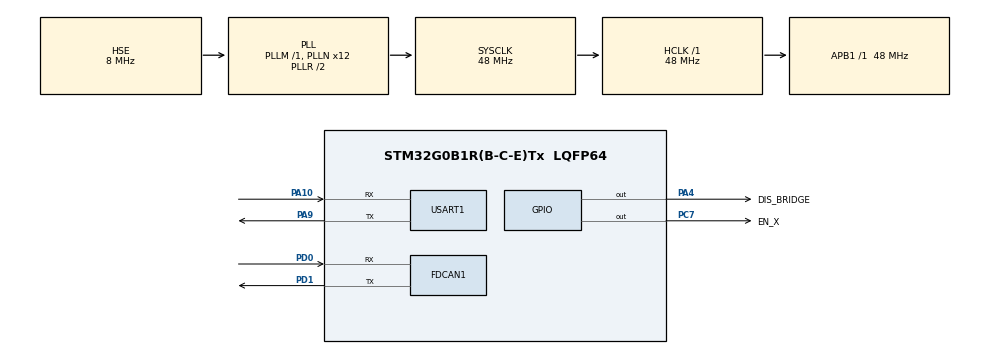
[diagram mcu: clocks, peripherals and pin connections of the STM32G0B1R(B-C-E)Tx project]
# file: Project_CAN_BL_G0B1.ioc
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CRC.InputDataFormat=CRC_INPUTDATA_FORMAT_WORDS
FDCAN1.AutoRetransmission=ENABLE
FDCAN1.CalculateBaudRateNominal=125000
FDCAN1.CalculateTimeBitNominal=8000
FDCAN1.CalculateTimeQuantumNominal=500.0
FDCAN1.DataTimeSeg1=13
FDCAN1.DataTimeSeg2=2
FDCAN1.NominalPrescaler=24
FDCAN1.NominalTimeSeg1=13
FDCAN1.NominalTimeSeg2=2
FDCAN1.TxFifoQueueMode=FDCAN_TX_QUEUE_OPERATION
IWDG.Prescaler=IWDG_PRESCALER_32
Mcu.Family=STM32G0
Mcu.Name=STM32G0B1R(B-C-E)Tx
Mcu.Package=LQFP64
NVIC.TIM16_FDCAN_IT0_IRQn=true\:0\:0\:false\:false\:true\:true\:true\:true
NVIC.USART1_IRQn=true\:1\:0\:true\:false\:true\:true\:true\:true
PA10.Mode=Asynchronous
PA10.Signal=USART1_RX
PA13.Mode=Serial_Wire
PA13.Signal=SYS_SWDIO
PA14-BOOT0.Mode=Serial_Wire
PA14-BOOT0.Signal=SYS_SWCLK
PA4.GPIO_Label=DIS_BRIDGE
PA4.PinState=GPIO_PIN_SET
PA4.Signal=GPIO_Output
PA9.Mode=Asynchronous
PA9.Signal=USART1_TX
PC14-OSC32_IN\ (PC14).Mode=LSE-External-Oscillator
PC14-OSC32_IN\ (PC14).Signal=RCC_OSC32_IN
PC15-OSC32_OUT\ (PC15).Mode=LSE-External-Oscillator
PC15-OSC32_OUT\ (PC15).Signal=RCC_OSC32_OUT
PC7.GPIO_Label=EN_X
PC7.PinState=GPIO_PIN_RESET
PC7.Signal=GPIO_Output
PD0.Mode=FDCAN_Activate
PD0.Signal=FDCAN1_RX
PD1.Mode=FDCAN_Activate
PD1.Signal=FDCAN1_TX
PF0-OSC_IN\ (PF0).Mode=HSE-External-Oscillator
PF0-OSC_IN\ (PF0).Signal=RCC_OSC_IN
PF1-OSC_OUT\ (PF1).Mode=HSE-External-Oscillator
PF1-OSC_OUT\ (PF1).Signal=RCC_OSC_OUT
ProjectManager.HeapSize=0x200
ProjectManager.StackSize=0x400
ProjectManager.TargetToolchain=STM32CubeIDE
RCC.ADCFreq_Value=48000000
RCC.AHBFreq_Value=48000000
RCC.APB1Freq_Value=48000000
RCC.APB1TimFreq_Value=48000000
RCC.CortexFreq_Value=48000000
RCC.EXTERNAL_CLOCK_VALUE=48000
RCC.HCLKFreq_Value=48000000
RCC.HSE_VALUE=8000000
RCC.HSI48_VALUE=48000000
RCC.HSI_VALUE=16000000
RCC.LSE_Timout=10000
RCC.PLLMUL=RCC_PLL_MUL6
RCC.PLLN=12
RCC.PLLSourceVirtual=RCC_PLLSOURCE_HSE
RCC.RTCClockSelection=RCC_RTCCLKSOURCE_LSE
RCC.SYSCLKFreq_VALUE=48000000
RCC.SYSCLKSource=RCC_SYSCLKSOURCE_PLLCLK
RCC.USBFreq_Value=48000000
RCC.VCOOutputFreq_Value=96000000
USART1.VirtualMode-Asynchronous=VM_ASYNC
VP_CRC_VS_CRC.Mode=CRC_Activate
VP_IWDG_VS_IWDG.Mode=IWDG_Activate
VP_RTC_VS_RTC_Activate.Mode=RTC_Enabled
VP_SYS_VS_DBSignals.Mode=DisableDeadBatterySignals
board=custom

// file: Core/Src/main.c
/* USER CODE BEGIN Header */
/**
 ******************************************************************************
 * @file           : main.c
 * @brief          : Main program body
 ******************************************************************************
 ** This notice applies to any and all portions of this file
 * that are not between comment pairs USER CODE BEGIN and
 * USER CODE END. Other portions of this file, whether
 * inserted by the user or by software development tools
 * are owned by their respective copyright owners.
 *
 * COPYRIGHT(c) 2019 STMicroelectronics
 *
 * Redistribution and use in source and binary forms, with or without modification,
 * are permitted provided that the following conditions are met:
 *   1. Redistributions of source code must retain the above copyright notice,
 *      this list of conditions and the following disclaimer.
 *   2. Redistributions in binary form must reproduce the above copyright notice,
 *      this list of conditions and the following disclaimer in the documentation
 *      and/or other materials provided with the distribution.
 *   3. Neither the name of STMicroelectronics nor the names of its contributors
 *      may be used to endorse or promote products derived from this software
 *      without specific prior written permission.
 *
 * THIS SOFTWARE IS PROVIDED BY THE COPYRIGHT HOLDERS AND CONTRIBUTORS "AS IS"
 * AND ANY EXPRESS OR IMPLIED WARRANTIES, INCLUDING, BUT NOT LIMITED TO, THE
 * IMPLIED WARRANTIES OF MERCHANTABILITY AND FITNESS FOR A PARTICULAR PURPOSE ARE
 * DISCLAIMED. IN NO EVENT SHALL THE COPYRIGHT HOLDER OR CONTRIBUTORS BE LIABLE
 * FOR ANY DIRECT, INDIRECT, INCIDENTAL, SPECIAL, EXEMPLARY, OR CONSEQUENTIAL
 * DAMAGES (INCLUDING, BUT NOT LIMITED TO, PROCUREMENT OF SUBSTITUTE GOODS OR
 * SERVICES; LOSS OF USE, DATA, OR PROFITS; OR BUSINESS INTERRUPTION) HOWEVER
 * CAUSED AND ON ANY THEORY OF LIABILITY, WHETHER IN CONTRACT, STRICT LIABILITY,
 * OR TORT (INCLUDING NEGLIGENCE OR OTHERWISE) ARISING IN ANY WAY OUT OF THE USE
 * OF THIS SOFTWARE, EVEN IF ADVISED OF THE POSSIBILITY OF SUCH DAMAGE.
 *
 ******************************************************************************
 */
/* USER CODE END Header */
#include "main.h"
#include "crc.h"
#include "fdcan.h"
#include "iwdg.h"
#include "rtc.h"
#include "usart.h"
#include "gpio.h"

/* USER CODE BEGIN Includes */
#include "time.h"
#include "shell.h"
#include "flash.h"
#include "crc.h"
#include "uart_sci.h"
#include "can_functions.h"

/* USER CODE END Includes */

/* USER CODE BEGIN PV */
/*
 *  __  __                  _______           _                    _                _
 * |  \/  |                |__   __|         | |                  | |              (�)
 * | \  / | _   _   ___  ___  | |  ___   ___ | |__   _ __    ___  | |  ___    __ _  _   ___  ___
 * | |\/| || | | | / __|/ _ \ | | / _ \ / __|| '_ \ | '_ \  / _ \ | | / _ \  / _` || | / _ \/ __|
 * | |  | || |_| || (__| (_) || ||  __/| (__ | | | || | | || (_) || || (_) || (_| || ||  __/\__ \
 * |_|  |_| \__,_| \___|\___/ |_| \___| \___||_| |_||_| |_| \___/ |_| \___/  \__, ||_| \___||___/
 *                                                                           __/  |
 *                                                                           |___/
 **************************************************************************************************

 DESCRIPTION:

 REMARKS:

 arm-none-eabi-objcopy -O binary "${BuildArtifactFileBaseName}.elf" "${BuildArtifactFileBaseName}.bin" && arm-none-eabi-size "${BuildArtifactFileName}";${ProjDirPath}/writeCRC.exe "${BuildArtifactFileBaseName}.bin"

 - section MYSEC
 - .data:  *(.RamFunc)
 - Optimize more (-O2)

 NOTES
 CPU freq 48 Mhz
 Uart1 COM port MODBUS baudrate: 115k, 8 databits, 1 stopbit, no parity
 Uart3 DEBUG/ PROGRAM baudrate: 115k, 8 databits, 1 stopbit, no parity
 IWDT 40khz/4095/4 = 0.4096 sec
 Timer6 voor timer functie 48mHz /47/999 = 1msec

 TOOLS
 - CubeMX 5.3.0
 - AC6 System Workbench

 PRINCIPE
 0x08000000 Bootloader 18K
 0x08004000 Application 55kb
 0x08010000 Shadow flash 55kb

 VERSION OVERVIEW:
 0.01
 - eerste versie
 0.02
 - mucu timer on systick
 - flash erase in pages

 */
uint8_t toggle_tmr = NO_TIMER;
uint8_t autostart_tmr = NO_TIMER;

/* Private variables ---------------------------------------------------------*/

/* USER CODE END PV */

void SystemClock_Config(void);
/* USER CODE BEGIN PFP */
/* Private function prototypes -----------------------------------------------*/

static HAL_StatusTypeDef Disable_DualBank(void);

/* USER CODE END PFP */

/* USER CODE BEGIN 0 */

/*!< Info structure for bootloader */
volatile const app_info_t __attribute__((section (".mySection"))) c_app_info =
{ .key = APP_KEY,				// Key
		.version = VERSION,		// Version
		.crc32 = 0xFFFFFFFF,		// CCITT-CRC32
		.size = 0xFFFFFFFF,		// File size
		.build_date = __DATE__,	// Build date
		.build_time = __TIME__,	// Build time
		.dummy =
		{ 0xFF, 0xFF, 0xFF } // Dummy[3]
};

/* USER CODE END 0 */

int main(void)
{

  /* USER CODE BEGIN 1 */

	//__disable_irq();
	app_info_t *p_app_info = (app_info_t*) FLASH_APP_START_ADDR;
//	app_info_t *p_shadow_info = (app_info_t*) FLASH_SHADOW_START_ADDR;
	uint32_t *ram_key = (uint32_t*) RAM_KEY;
	uint32_t *p_serial = (uint32_t*) RAM_SERIAL; // application fills the serial

  /* USER CODE END 1 */

  /* MCU Configuration--------------------------------------------------------*/

  /* Reset of all peripherals, Initializes the Flash interface and the Systick. */
  HAL_Init();

  /* Configure the system clock */
  SystemClock_Config();

  /* Initialize all configured peripherals */
  MX_GPIO_Init();
  MX_CRC_Init();
  MX_IWDG_Init();
  MX_RTC_Init();
  MX_USART1_UART_Init();
  MX_FDCAN1_Init();
  /* USER CODE BEGIN 2 */

	__enable_irq();

	// Open the byteQ
	init_sci();

	// setup the function timer
	timer_open();

	// init the Shell
	shell_open();

	FDCAN_Config();

	if (*ram_key == CAN_KEY)
	{
//		HAL_Delay(100);
		can_send_msg(ID_OC_RES, 4, (uint8_t *) p_serial);
	}
	else if (*ram_key == WAIT_KEY_1 || *ram_key == WAIT_KEY_3)
	{
		tty_puts("'MT' (@) 2025 STM32G0 CHG_BL, Stop\r\n");
	}
	else if (*ram_key == CRASH_KEY)
	{
		tty_puts("'MT' (@) 2025 STM32G0 CHG_BL, Crash\r\n");
		autostart_tmr = timer_get();
		timer_start(autostart_tmr, 2500, NULL);
	}
	else if (p_app_info->key == APP_KEY)
	{
		tty_puts("'MT' (@) 2025 STM32G0 CHG_BL, Start\r\n");
		autostart_tmr = timer_get();
		timer_start(autostart_tmr, 10, NULL);
	}

	else
		tty_puts("'MT' (@) 2025 STM32G0 CHG_BL\r\n");

	//Disable_DualBank();

	// APP need to clear this flag or else app was crashed
	*ram_key = CRASH_KEY;

	app_info_t app_info;

#if 0
	app_info_t app_info;
	app_info_t shadow_info;
	HAL_StatusTypeDef hal_err;

	if (p_shadow_info->key == APP_KEY)
	{
		// Verify integrity of shadow
		if (crc_verify_flash(&shadow_info, FLASH_SHADOW_START_ADDR, SHADOW_SIZE) == 0)
		{
			// get CRC of application
			crc_verify_flash(&app_info, FLASH_APP_START_ADDR, APP_SIZE);
			if ((shadow_info.version & 0xFF) == VERSION_KEY_SHIFTER)
			{
				if (app_info.crc32 != shadow_info.crc32)
				{
					tty_puts("Copy Shadow to App..");
					NVIC_DisableIRQ(USART3_4_LPUART1_IRQn); // IRQs from the main will stall copying
					HAL_Delay(10);

					if (copy_shadow(APP_SIZE))
					{
						autostart_tmr = NO_TIMER;
						tty_puts("Error\r\n");
					}
					else
					{
						// Delete the header
						tty_puts("Erasing shadow flash... ");
						HAL_Delay(10);
						if ((hal_err = stm32_flash_erase(FLASH_SHADOW_START_ADDR, SHADOW_SIZE)) == HAL_OK)
						{
							sci1_puts("OK\r\n");
							autostart_tmr = timer_get();
							timer_start(autostart_tmr, 250, NULL);
						}
						else
						sci1_puts("Error\r\n");

					}
				}
			}
			else
			tty_puts("No Shifter C9 code\r\n");
		}
		else
		tty_puts("Shadow CRC error\r\n");
	}
#endif
  /* USER CODE END 2 */

  /* Infinite loop */
  /* USER CODE BEGIN WHILE */

//	app_info_t app_info;

	while (1)
	{
    /* USER CODE END WHILE */

    /* USER CODE BEGIN 3 */
		wdt_clr();

		shell_process();

		if (timer_elapsed(autostart_tmr))
		{
			timer_free(&autostart_tmr);

			// Verify integrity.
			if (crc_verify_flash(&app_info, FLASH_APP_START_ADDR, APP_SIZE) == 0)
			{
				tty_puts("Jump\r\n");
				HAL_Delay(15);
				JumptoApp();
			}
			else
				tty_puts("APP CRC error\r\n");

		}
	}
  /* USER CODE END 3 */
}

void SystemClock_Config(void)
{
  RCC_OscInitTypeDef RCC_OscInitStruct = {0};
  RCC_ClkInitTypeDef RCC_ClkInitStruct = {0};

  /** Configure the main internal regulator output voltage
  */
  HAL_PWREx_ControlVoltageScaling(PWR_REGULATOR_VOLTAGE_SCALE1);

  /** Configure LSE Drive Capability
  */
  HAL_PWR_EnableBkUpAccess();
  __HAL_RCC_LSEDRIVE_CONFIG(RCC_LSEDRIVE_LOW);

  /** Initializes the RCC Oscillators according to the specified parameters
  * in the RCC_OscInitTypeDef structure.
  */
  RCC_OscInitStruct.OscillatorType = RCC_OSCILLATORTYPE_LSI|RCC_OSCILLATORTYPE_HSE
                              |RCC_OSCILLATORTYPE_LSE;
  RCC_OscInitStruct.HSEState = RCC_HSE_ON;
  RCC_OscInitStruct.LSEState = RCC_LSE_ON;
  RCC_OscInitStruct.LSIState = RCC_LSI_ON;
  RCC_OscInitStruct.PLL.PLLState = RCC_PLL_ON;
  RCC_OscInitStruct.PLL.PLLSource = RCC_PLLSOURCE_HSE;
  RCC_OscInitStruct.PLL.PLLM = RCC_PLLM_DIV1;
  RCC_OscInitStruct.PLL.PLLN = 12;
  RCC_OscInitStruct.PLL.PLLP = RCC_PLLP_DIV2;
  RCC_OscInitStruct.PLL.PLLQ = RCC_PLLQ_DIV2;
  RCC_OscInitStruct.PLL.PLLR = RCC_PLLR_DIV2;
  if (HAL_RCC_OscConfig(&RCC_OscInitStruct) != HAL_OK)
  {
    Error_Handler();
  }

  /** Initializes the CPU, AHB and APB buses clocks
  */
  RCC_ClkInitStruct.ClockType = RCC_CLOCKTYPE_HCLK|RCC_CLOCKTYPE_SYSCLK
                              |RCC_CLOCKTYPE_PCLK1;
  RCC_ClkInitStruct.SYSCLKSource = RCC_SYSCLKSOURCE_PLLCLK;
  RCC_ClkInitStruct.AHBCLKDivider = RCC_SYSCLK_DIV1;
  RCC_ClkInitStruct.APB1CLKDivider = RCC_HCLK_DIV1;

  if (HAL_RCC_ClockConfig(&RCC_ClkInitStruct, FLASH_LATENCY_1) != HAL_OK)
  {
    Error_Handler();
  }
}

/* USER CODE BEGIN 4 */

#if 0
static HAL_StatusTypeDef Disable_DualBank(void)
{
    HAL_StatusTypeDef status;

    // Unlock Flash and Option Bytes
    HAL_FLASH_Unlock();
    HAL_FLASH_OB_Unlock();

    // Get current Option Bytes configuration
    FLASH_OBProgramInitTypeDef obConfig;
    HAL_FLASHEx_OBGetConfig(&obConfig);

    // Modify DBANK bit: set it to 0 to disable dual-bank
    obConfig.OptionType = OPTIONBYTE_USER;
    obConfig.USERType = OB_USER_DUAL_BANK;
    obConfig.USERConfig &= ~OB_USER_DBANK;  // Clear DBANK bit → Single Bank

    // Program new Option Bytes
    status = HAL_FLASHEx_OBProgram(&obConfig);

    if (status != HAL_OK) {
        HAL_FLASH_OB_Lock();
        HAL_FLASH_Lock();
        return status;
    }

    // Launch Option Bytes reload
    status = HAL_FLASH_OB_Launch();  // This causes a system reset if successful

    // Lock Option Bytes and Flash (if it failed and returned)
    HAL_FLASH_OB_Lock();
    HAL_FLASH_Lock();

    return status;  // Won't return if OB_Launch succeeds
}
#endif
void f_start(void)
{
	if (autostart_tmr == NO_TIMER)
		autostart_tmr = timer_get();
	timer_start(autostart_tmr, 10, NULL);
}

/**
 * Jump to application
 */
void JumptoApp(void)
{
	// disable global interrupt
	__disable_irq();

	// Disable all peripheral interrupts
	NVIC_DisableIRQ(NonMaskableInt_IRQn);
	NVIC_DisableIRQ(HardFault_IRQn);
	NVIC_DisableIRQ(SVC_IRQn);
	NVIC_DisableIRQ(PendSV_IRQn);
	NVIC_DisableIRQ(WWDG_IRQn);
//	NVIC_DisableIRQ(PVD_IRQn);
	NVIC_DisableIRQ(FLASH_IRQn);
//	NVIC_DisableIRQ(RCC_IRQn);
	NVIC_DisableIRQ(EXTI0_1_IRQn);
	NVIC_DisableIRQ(EXTI2_3_IRQn);
	NVIC_DisableIRQ(DMA1_Channel1_IRQn);
	NVIC_DisableIRQ(DMA1_Channel2_3_IRQn);
	NVIC_DisableIRQ(TIM16_FDCAN_IT0_IRQn);
	NVIC_DisableIRQ(TIM17_FDCAN_IT1_IRQn);
//	NVIC_DisableIRQ(TIM3_IRQn);
	NVIC_DisableIRQ(I2C1_IRQn);
//	NVIC_DisableIRQ(I2C2_IRQn);
	NVIC_DisableIRQ(SPI1_IRQn);
//	NVIC_DisableIRQ(SPI2_IRQn);
	NVIC_DisableIRQ(USART1_IRQn);
	NVIC_DisableIRQ(USART2_LPUART2_IRQn);
	NVIC_DisableIRQ(USART3_4_5_6_LPUART1_IRQn);

	// main app start address defined in linker file
	extern uint32_t _main_app_start_address;

	uint32_t MemoryAddr = (uint32_t) &_main_app_start_address;
	uint32_t *pMem = (uint32_t *) MemoryAddr;

	// First address is the stack pointer initial value
	__set_MSP(*pMem); // Set stack pointer

	// Now get main app entry point address
	pMem++;
	void (*pMainApp)(void) = (void (*)(void))(*pMem);

	// Jump to main application (0x0800 0004)
	pMainApp();
}

/* USER CODE END 4 */

void Error_Handler(void)
{
	while (1)
	{
	}
}
